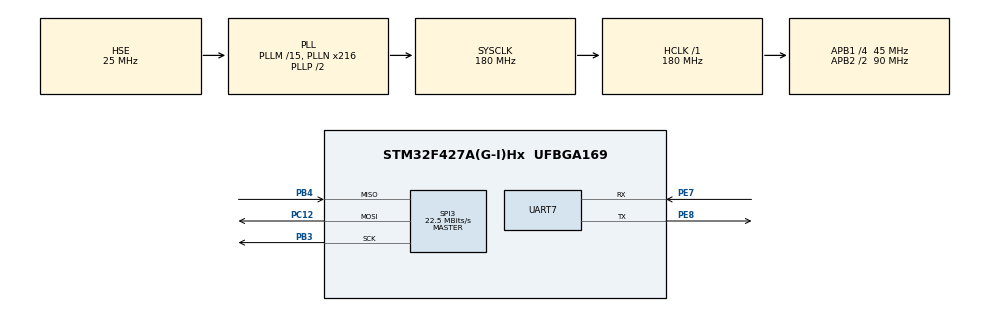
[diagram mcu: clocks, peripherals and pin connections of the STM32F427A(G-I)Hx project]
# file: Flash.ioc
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Mcu.Family=STM32F4
Mcu.Name=STM32F427A(G-I)Hx
Mcu.Package=UFBGA169
NVIC.PriorityGroup=NVIC_PRIORITYGROUP_4
PA13.Mode=Serial_Wire
PA13.Signal=SYS_JTMS-SWDIO
PA14.Mode=Serial_Wire
PA14.Signal=SYS_JTCK-SWCLK
PB3.Mode=Full_Duplex_Master
PB3.Signal=SPI3_SCK
PB4.Mode=Full_Duplex_Master
PB4.Signal=SPI3_MISO
PC12.Mode=Full_Duplex_Master
PC12.Signal=SPI3_MOSI
PE7.Mode=Asynchronous
PE7.Signal=UART7_RX
PE8.Mode=Asynchronous
PE8.Signal=UART7_TX
PH0/OSC_IN.Mode=HSE-External-Oscillator
PH0/OSC_IN.Signal=RCC_OSC_IN
PH1/OSC_OUT.Mode=HSE-External-Oscillator
PH1/OSC_OUT.Signal=RCC_OSC_OUT
ProjectManager.HeapSize=0x200
ProjectManager.StackSize=0x400
ProjectManager.TargetToolchain=STM32CubeIDE
RCC.48MHZClocksFreq_Value=90000000
RCC.AHBFreq_Value=180000000
RCC.APB1CLKDivider=RCC_HCLK_DIV4
RCC.APB1Freq_Value=45000000
RCC.APB1TimFreq_Value=90000000
RCC.APB2CLKDivider=RCC_HCLK_DIV2
RCC.APB2Freq_Value=90000000
RCC.APB2TimFreq_Value=180000000
RCC.CortexFreq_Value=180000000
RCC.HCLKFreq_Value=180000000
RCC.HSE_VALUE=25000000
RCC.HSI_VALUE=16000000
RCC.LSE_VALUE=32768
RCC.PLLM=15
RCC.PLLN=216
RCC.PLLSourceVirtual=RCC_PLLSOURCE_HSE
RCC.SYSCLKFreq_VALUE=180000000
RCC.SYSCLKSource=RCC_SYSCLKSOURCE_PLLCLK
RCC.VCOOutputFreq_Value=360000000
SPI3.BaudRatePrescaler=SPI_BAUDRATEPRESCALER_2
SPI3.CalculateBaudRate=22.5 MBits/s
SPI3.Direction=SPI_DIRECTION_2LINES
SPI3.Mode=SPI_MODE_MASTER
SPI3.VirtualType=VM_MASTER
UART7.VirtualMode=Asynchronous
board=custom

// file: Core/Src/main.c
/* USER CODE BEGIN Header */
/**
  ******************************************************************************
  * @file           : main.c
  * @brief          : Main program body
  ******************************************************************************
  * @attention
  *
  * <h2><center>&copy; Copyright (c) 2024 STMicroelectronics.
  * All rights reserved.</center></h2>
  *
  * This software component is licensed by ST under BSD 3-Clause license,
  * the "License"; You may not use this file except in compliance with the
  * License. You may obtain a copy of the License at:
  *                        opensource.org/licenses/BSD-3-Clause
  *
  ******************************************************************************
  */
/* USER CODE END Header */
#include "main.h"

/* USER CODE BEGIN Includes */
#include "lfs_util.h"
#include "lfs.h"
#include "MT25Q.h"
/* USER CODE END Includes */

/* USER CODE BEGIN PD */
#define sector_size 64
/* USER CODE END PD */

SPI_HandleTypeDef hspi3;

UART_HandleTypeDef huart7;

/* USER CODE BEGIN PV */
uint16_t address =0x00;
// variables used by the filesystem
lfs_t lfs;
lfs_file_t file;
/* USER CODE END PV */

void SystemClock_Config(void);
static void MX_GPIO_Init(void);
static void MX_SPI3_Init(void);
static void MX_UART7_Init(void);
/* USER CODE BEGIN PFP */
int block_device_read(const struct lfs_config *c, lfs_block_t block,
	lfs_off_t off, void *buffer, lfs_size_t size)
{
	Bulk_Read_4B(&hspi3, (block * c->block_size + off), (uint8_t *)buffer,size);
	return 0;
}

// configuration of the filesystem is provided by this struct
const struct lfs_config cfg = {
    // block device operations
    .read  = block_device_read,
    .prog  = Page_Write_4B,
    .erase = Sector_Erase_4B,

    // block device configuration
    .read_size = 16,
    .prog_size = 16,
    .block_size = 4096,
    .block_count = 128,
    .cache_size = 16,
    .lookahead_size = 16,
    .block_cycles = 500,
};
/* USER CODE END PFP */

int main(void)
{
  /* USER CODE BEGIN 1 */
	// mount the filesystem
	    int err = lfs_mount(&lfs, &cfg);

	    // reformat if we can't mount the filesystem
	    // this should only happen on the first boot
	    if (err) {
	        lfs_format(&lfs, &cfg);
	        lfs_mount(&lfs, &cfg);
	    }

	    // read current count
	    uint32_t boot_count = 0;
	    lfs_file_open(&lfs, &file, "boot_count", LFS_O_RDWR | LFS_O_CREAT);
	    lfs_file_read(&lfs, &file, &boot_count, sizeof(boot_count));

	    // update boot count
	    boot_count += 1;
	    lfs_file_rewind(&lfs, &file);
	    lfs_file_write(&lfs, &file, &boot_count, sizeof(boot_count));

	    // remember the storage is not updated until the file is closed successfully
	    lfs_file_close(&lfs, &file);

	    // release any resources we were using
	    lfs_unmount(&lfs);

	    // print the boot count
	    printf("boot_count: %d\n", boot_count);
  /* USER CODE END 1 */

  /* MCU Configuration--------------------------------------------------------*/

  /* Reset of all peripherals, Initializes the Flash interface and the Systick. */
  HAL_Init();

  /* Configure the system clock */
  SystemClock_Config();

  /* Initialize all configured peripherals */
  MX_GPIO_Init();
  MX_SPI3_Init();
  MX_UART7_Init();

  /* Infinite loop */
  while (1)
  {

  }
}

void SystemClock_Config(void)
{
  RCC_OscInitTypeDef RCC_OscInitStruct = {0};
  RCC_ClkInitTypeDef RCC_ClkInitStruct = {0};

  /** Configure the main internal regulator output voltage
  */
  __HAL_RCC_PWR_CLK_ENABLE();
  __HAL_PWR_VOLTAGESCALING_CONFIG(PWR_REGULATOR_VOLTAGE_SCALE1);
  /** Initializes the RCC Oscillators according to the specified parameters
  * in the RCC_OscInitTypeDef structure.
  */
  RCC_OscInitStruct.OscillatorType = RCC_OSCILLATORTYPE_HSE;
  RCC_OscInitStruct.HSEState = RCC_HSE_ON;
  RCC_OscInitStruct.PLL.PLLState = RCC_PLL_ON;
  RCC_OscInitStruct.PLL.PLLSource = RCC_PLLSOURCE_HSE;
  RCC_OscInitStruct.PLL.PLLM = 15;
  RCC_OscInitStruct.PLL.PLLN = 216;
  RCC_OscInitStruct.PLL.PLLP = RCC_PLLP_DIV2;
  RCC_OscInitStruct.PLL.PLLQ = 4;
  if (HAL_RCC_OscConfig(&RCC_OscInitStruct) != HAL_OK)
  {
    Error_Handler();
  }
  /** Activate the Over-Drive mode
  */
  if (HAL_PWREx_EnableOverDrive() != HAL_OK)
  {
    Error_Handler();
  }
  /** Initializes the CPU, AHB and APB buses clocks
  */
  RCC_ClkInitStruct.ClockType = RCC_CLOCKTYPE_HCLK|RCC_CLOCKTYPE_SYSCLK
                              |RCC_CLOCKTYPE_PCLK1|RCC_CLOCKTYPE_PCLK2;
  RCC_ClkInitStruct.SYSCLKSource = RCC_SYSCLKSOURCE_PLLCLK;
  RCC_ClkInitStruct.AHBCLKDivider = RCC_SYSCLK_DIV1;
  RCC_ClkInitStruct.APB1CLKDivider = RCC_HCLK_DIV4;
  RCC_ClkInitStruct.APB2CLKDivider = RCC_HCLK_DIV2;

  if (HAL_RCC_ClockConfig(&RCC_ClkInitStruct, FLASH_LATENCY_5) != HAL_OK)
  {
    Error_Handler();
  }
}

static void MX_SPI3_Init(void)
{

  /* SPI3 parameter configuration*/
  hspi3.Instance = SPI3;
  hspi3.Init.Mode = SPI_MODE_MASTER;
  hspi3.Init.Direction = SPI_DIRECTION_2LINES;
  hspi3.Init.DataSize = SPI_DATASIZE_8BIT;
  hspi3.Init.CLKPolarity = SPI_POLARITY_LOW;
  hspi3.Init.CLKPhase = SPI_PHASE_1EDGE;
  hspi3.Init.NSS = SPI_NSS_SOFT;
  hspi3.Init.BaudRatePrescaler = SPI_BAUDRATEPRESCALER_2;
  hspi3.Init.FirstBit = SPI_FIRSTBIT_MSB;
  hspi3.Init.TIMode = SPI_TIMODE_DISABLE;
  hspi3.Init.CRCCalculation = SPI_CRCCALCULATION_DISABLE;
  hspi3.Init.CRCPolynomial = 10;
  if (HAL_SPI_Init(&hspi3) != HAL_OK)
  {
    Error_Handler();
  }

}

static void MX_UART7_Init(void)
{

  huart7.Instance = UART7;
  huart7.Init.BaudRate = 115200;
  huart7.Init.WordLength = UART_WORDLENGTH_8B;
  huart7.Init.StopBits = UART_STOPBITS_1;
  huart7.Init.Parity = UART_PARITY_NONE;
  huart7.Init.Mode = UART_MODE_TX_RX;
  huart7.Init.HwFlowCtl = UART_HWCONTROL_NONE;
  huart7.Init.OverSampling = UART_OVERSAMPLING_16;
  if (HAL_UART_Init(&huart7) != HAL_OK)
  {
    Error_Handler();
  }

}

static void MX_GPIO_Init(void)
{

  /* GPIO Ports Clock Enable */
  __HAL_RCC_GPIOB_CLK_ENABLE();
  __HAL_RCC_GPIOC_CLK_ENABLE();
  __HAL_RCC_GPIOA_CLK_ENABLE();
  __HAL_RCC_GPIOH_CLK_ENABLE();
  __HAL_RCC_GPIOE_CLK_ENABLE();

}

void Error_Handler(void)
{
  __disable_irq();
  while (1)
  {
  }
}

/************************ (C) COPYRIGHT STMicroelectronics *****END OF FILE****/
